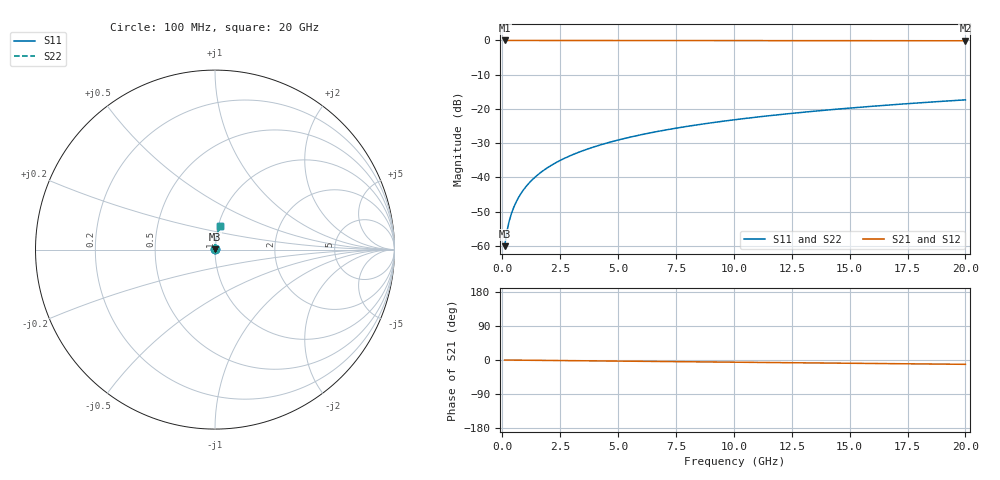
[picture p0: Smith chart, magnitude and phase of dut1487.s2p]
! Touchstone file exported from HFSS 2026.1.0
!  File:  C:/ffzhzh/LocalFiles/Ansys_Project_Files/temp_train_BSMRDL_1487_1783181457_22436.aedt
!  Generated:  12:12:09 AM Jul  5, 2026
!  Design:  BSMRDL
!  Project:  temp_train_BSMRDL_1487_1783181457_22436
! Variables:
!  h_bsmrdl = 3.8um
!  h_ox = 20um
!  h_rdl = 5um
!  h_sub = 80um
!  h_tmrdl = 5um
!  h_tsv = 80um
!  h_via = 3um
!  l_bsmrdl = 104.24um
!  l_sub = 504.24um
!  l_tmrdl = 200um
!  m_sub = 200um
!  pitch = 59.03um
!  r_tsv = 6um
!  s_tmrdl = 10um
!  w_bsmrdl = 22.43um
!  w_sub = 500um
!  w_tmrdl = 12um
!  x_tsv_center1 = 206um
!  x_tsv_center2 = 332.67um
!  x_tsv_center3 = 544.67um
!  x_tsv_center4 = 671.34um
!  x_tsv_center5 = 883.34um
!  x_tsv_center6 = 1010.01um
# GHz S MA R 50.000000
! Terminal data exported
! Port[1] = BSM_RDL1_1_T1
! Port[2] = BSM_RDL1_1_T2
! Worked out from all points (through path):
!   200 points, 100 MHz to 20 GHz, reference 50 ohm
!   highest |S21| = -0.01 dB at 100 MHz (marker M1); lowest = -0.1 dB at 20 GHz (marker M2)
!   group delay of S21, straight-line fit = 1.58 ps
!   lowest |S11| = -60.1 dB at 100 MHz (marker M3), VSWR 1.00, Z = 50.1 + j0.0746 ohm
!   |S11| at or under -10 dB: start of sweep to end of sweep
!   |S22| runs from -60.1 to -17.4 dB; largest |S21 - S12| = 4.2e-15
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0.1  0.0009852 49.2  0.9994 -0.1  0.9994 -0.1  0.0009852 49.2
! Gamma 0 0 0 0
! Port Impedance 50 0 50 0
0.2  0.001623 65.5  0.9993 -0.1  0.9993 -0.1  0.001623 65.5
0.3  0.002302 72.2  0.9993 -0.2  0.9993 -0.2  0.002302 72.2
0.4  0.002989 75.8  0.9993 -0.2  0.9993 -0.2  0.002989 75.8
0.5  0.003677 78.1  0.9993 -0.3  0.9993 -0.3  0.003677 78.1
0.7  0.00506 80.9  0.9992 -0.4  0.9992 -0.4  0.00506 80.9
0.8  0.005754 81.8  0.9992 -0.5  0.9992 -0.5  0.005754 81.8
1  0.007147 83.0  0.9992 -0.6  0.9992 -0.6  0.007147 83.0
1.2  0.008543 83.9  0.9991 -0.7  0.9991 -0.7  0.008543 83.9
1.4  0.009941 84.4  0.9991 -0.8  0.9991 -0.8  0.009941 84.4
1.7  0.01204 85.0  0.9991 -1.0  0.9991 -1.0  0.01204 85.0
2  0.01414 85.3  0.999 -1.2  0.999 -1.2  0.01414 85.3
2.7  0.01904 85.6  0.9989 -1.6  0.9989 -1.6  0.01904 85.6
3.5  0.02462 85.5  0.9987 -2.0  0.9987 -2.0  0.02462 85.5
4.2  0.02949 85.4  0.9984 -2.4  0.9984 -2.4  0.02949 85.4
5  0.03503 85.1  0.9981 -2.9  0.9981 -2.9  0.03503 85.1
6.8  0.04741 84.2  0.9974 -3.9  0.9974 -3.9  0.04741 84.2
8.3  0.05764 83.5  0.9966 -4.8  0.9966 -4.8  0.05764 83.5
10.1  0.06983 82.6  0.9956 -5.8  0.9956 -5.8  0.06983 82.6
13.4  0.09198 80.9  0.9935 -7.7  0.9935 -7.7  0.09198 80.9
16.7  0.1139 79.2  0.991 -9.6  0.991 -9.6  0.1139 79.2
20  0.1355 77.4  0.988 -11.4  0.988 -11.4  0.1355 77.4
